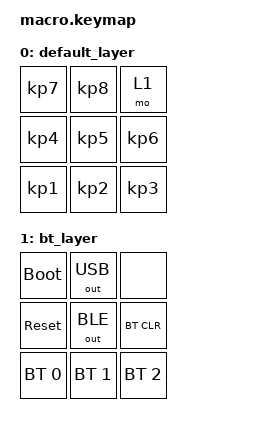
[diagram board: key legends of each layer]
#include <behaviors.dtsi>
#include <dt-bindings/zmk/keys.h>
#include <dt-bindings/zmk/bt.h>
#include <dt-bindings/zmk/outputs.h>

/ {
    keymap {
        compatible = "zmk,keymap";

        default_layer {
            bindings = <
                &kp KP_N7     &kp KP_N8     &mo 1
                &kp KP_N4     &kp KP_N5     &kp KP_N6
                &kp KP_N1     &kp KP_N2     &kp KP_N3
            >;
        };

        bt_layer {
            bindings = <
                &bootloader      &out OUT_USB     &none
                &sys_reset       &out OUT_BLE     &bt BT_CLR
                &bt BT_SEL 0     &bt BT_SEL 1     &bt BT_SEL 2
            >;
        };
    };
};
